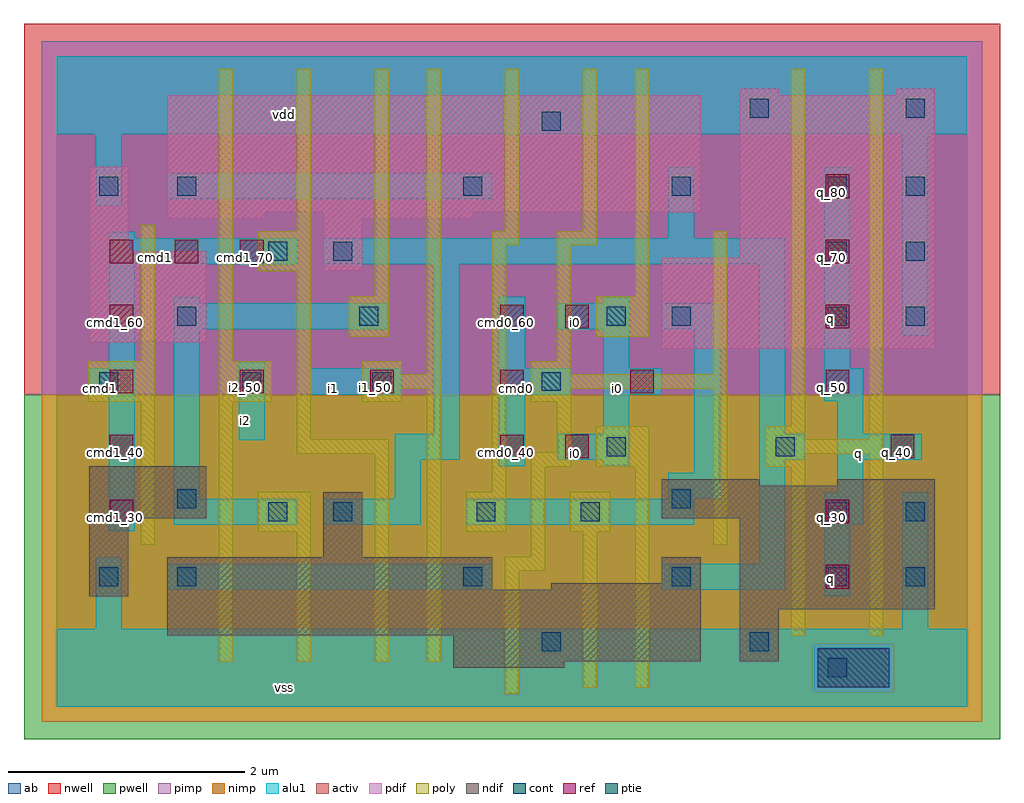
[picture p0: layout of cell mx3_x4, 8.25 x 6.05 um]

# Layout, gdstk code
import gdstk
lib = gdstk.Library(unit=1e-6, precision=2.5e-09)
def R(c, l, rs):  # rectangles x0, y0, x1, y1
    for r in rs: c.add(gdstk.rectangle(r[:2], r[2:], *l))
def A(c, l, x, y, w, h, nx, ny, dx, dy):  # array of equal rectangles
    R(c, l, [(x+i*dx, y+j*dy, x+i*dx+w, y+j*dy+h) for i in range(nx) for j in range(ny)])
ndif = (3, 0)
pdif = (4, 0)
ptie = (6, 0)
ref = (24, 0)
cont = (25, 0)
pwell = (41, 0)
nwell = (42, 0)
activ = (43, 0)
pimp = (44, 0)
nimp = (45, 0)
poly = (46, 0)
alu1 = (49, 0)
ab = (63, 0)

mx3_x4 = lib.new_cell('mx3_x4')
R(mx3_x4, ndif, [(3.355,0.33,4.29,0.385), (3.355,0.385,5.445,0.605), (5.775,0.385,6.105,0.825), (0.935,0.605,5.445,0.99), (5.775,0.825,7.425,1.595), (0.275,0.935,0.605,1.595), (0.935,0.99,3.685,1.265), (4.18,0.99,5.445,1.045), (5.115,1.045,5.445,1.265), (2.255,1.265,2.585,1.815), (0.275,1.595,1.265,2.035), (5.115,1.595,7.425,1.87), (5.115,1.87,5.94,1.925), (6.6,1.87,7.425,1.925)])
R(mx3_x4, pdif, [(5.115,3.025,7.425,3.795), (0.275,3.08,1.265,3.85), (2.255,3.685,2.585,4.125), (5.775,3.795,7.425,5.17), (0.275,3.85,0.605,4.565), (0.935,4.125,1.76,4.18), (2.255,4.125,3.52,4.18), (0.935,4.18,5.445,5.17), (5.775,5.17,6.105,5.225), (7.095,5.17,7.425,5.225)])
R(mx3_x4, ptie, [(6.435,0.165,7.04,0.495)])
A(mx3_x4, ref, 0.45, 2.65, 0.2, 0.2, 5, 1, 1.1, 0)
A(mx3_x4, ref, 6.5, 2.65, 0.2, 0.2, 1, 4, 0, 0.55)
A(mx3_x4, ref, 0.45, 3.75, 0.2, 0.2, 3, 1, 0.55, 0)
R(mx3_x4, ref, [(6.5,1,6.7,1.2), (0.45,1.55,0.65,1.75), (6.5,1.55,6.7,1.75), (0.45,2.1,0.65,2.3), (3.75,2.1,3.95,2.3), (4.3,2.1,4.5,2.3), (7.05,2.1,7.25,2.3), (0.45,3.2,0.65,3.4), (3.75,3.2,3.95,3.4), (4.3,3.2,4.5,3.4)])
A(mx3_x4, cont, 4.1, 0.47, 0.16, 0.16, 1, 3, 0, 2.2)
A(mx3_x4, cont, 0.36, 1.02, 0.16, 0.16, 1, 3, 0, 1.65)
A(mx3_x4, cont, 6.52, 3.22, 0.16, 0.16, 1, 3, 0, 0.55)
A(mx3_x4, cont, 7.18, 3.22, 0.16, 0.16, 1, 3, 0, 0.55)
R(mx3_x4, cont, [(6.52,0.25,6.68,0.41), (5.86,0.47,6.02,0.63), (1.02,1.02,1.18,1.18), (3.44,1.02,3.6,1.18), (5.2,1.02,5.36,1.18), (6.52,1.02,6.68,1.18), (7.18,1.02,7.34,1.18), (1.79,1.57,1.95,1.73), (2.34,1.57,2.5,1.73), (3.55,1.57,3.71,1.73), (4.43,1.57,4.59,1.73), (6.52,1.57,6.68,1.73), (7.18,1.57,7.34,1.73), (1.02,1.68,1.18,1.84), (5.2,1.68,5.36,1.84), (4.65,2.12,4.81,2.28), (6.08,2.12,6.24,2.28), (1.57,2.67,1.73,2.83), (2.67,2.67,2.83,2.83), (1.02,3.22,1.18,3.38), (2.56,3.22,2.72,3.38), (4.65,3.22,4.81,3.38), (5.2,3.22,5.36,3.38), (1.79,3.77,1.95,3.93), (2.34,3.77,2.5,3.93), (1.02,4.32,1.18,4.48), (3.44,4.32,3.6,4.48), (5.2,4.32,5.36,4.48), (5.86,4.98,6.02,5.14), (7.18,4.98,7.34,5.14)])
R(mx3_x4, pwell, [(-0.275,-0.275,7.975,2.64)])
R(mx3_x4, nwell, [(-0.275,2.64,7.975,5.775)])
R(mx3_x4, activ, [(6.435,0.165,7.04,0.495), (3.355,0.33,4.29,0.385), (3.355,0.385,5.445,0.605), (5.775,0.385,6.105,0.825), (0.935,0.605,5.445,0.99), (5.775,0.825,7.425,1.595), (0.275,0.935,0.605,1.595), (0.935,0.99,3.685,1.265), (4.18,0.99,5.445,1.045), (5.115,1.045,5.445,1.265), (2.255,1.265,2.585,1.815), (0.275,1.595,1.265,2.035), (5.115,1.595,7.425,1.87), (5.115,1.87,5.94,1.925), (6.6,1.87,7.425,1.925), (5.115,3.025,7.425,3.795), (0.275,3.08,1.265,3.85), (2.255,3.685,2.585,4.125), (5.775,3.795,7.425,5.17), (0.275,3.85,0.605,4.565), (0.935,4.125,1.76,4.18), (2.255,4.125,3.52,4.18), (0.935,4.18,5.445,5.17), (5.775,5.17,6.105,5.225), (7.095,5.17,7.425,5.225)])
R(mx3_x4, pimp, [(6.395,0.125,7.08,0.535), (-0.125,2.64,7.825,5.625)])
R(mx3_x4, nimp, [(-0.125,-0.125,7.825,0.125), (-0.125,0.125,6.395,0.535), (7.08,0.125,7.825,0.535), (-0.125,0.535,7.825,2.64)])
R(mx3_x4, poly, [(3.79,0.105,3.91,1.15), (4.45,0.16,4.57,1.48), (4.89,0.16,5.01,2.03), (1.37,0.38,1.49,2.58), (2.03,0.38,2.15,1.48), (2.69,0.38,2.81,2.14), (3.13,0.38,3.25,2.69), (6.21,0.6,6.33,2.03), (6.87,0.6,6.99,2.14), (3.79,1.15,4.13,1.27), (4.01,1.27,4.13,2.03), (0.71,1.37,0.83,2.58), (5.55,1.37,5.67,2.69), (1.7,1.48,2.15,1.82), (3.46,1.48,3.8,1.82), (4.34,1.48,4.68,1.82), (3.68,1.82,3.8,3.9), (4.01,2.03,4.35,2.15), (4.56,2.03,5.01,2.37), (5.99,2.03,6.33,2.14), (2.03,2.14,2.81,2.26), (5.99,2.14,6.99,2.26), (4.23,2.15,4.35,2.58), (2.03,2.26,2.15,3.68), (5.99,2.26,6.33,2.37), (6.87,2.26,6.99,5.395), (6.21,2.37,6.33,5.395), (0.27,2.58,0.83,2.92), (1.37,2.58,1.82,2.92), (2.58,2.58,2.92,2.69), (4.01,2.58,4.35,2.69), (2.58,2.69,3.25,2.81), (4.01,2.69,5.67,2.81), (2.58,2.81,2.92,2.92), (3.13,2.81,3.25,5.395), (4.01,2.81,4.35,2.92), (5.55,2.81,5.67,4.02), (0.71,2.92,0.83,4.075), (1.37,2.92,1.49,5.395), (4.23,2.92,4.35,3.9), (2.47,3.13,2.81,3.47), (4.56,3.13,5.01,3.47), (2.69,3.47,2.81,5.395), (4.89,3.47,5.01,5.395), (1.7,3.68,2.15,4.02), (3.68,3.9,3.91,4.02), (4.23,3.9,4.57,4.02), (2.03,4.02,2.15,5.395), (3.79,4.02,3.91,5.395), (4.45,4.02,4.57,5.395)])
R(mx3_x4, alu1, [(0,0,7.7,0.66), (0.33,0.66,0.55,1.265), (7.15,0.66,7.37,1.815), (6.49,0.935,6.71,1.54), (0.935,0.99,3.685,1.21), (5.115,0.99,6.16,1.21), (5.94,1.21,6.16,2.09), (0.44,1.485,0.66,2.64), (0.99,1.54,2.035,1.76), (2.255,1.54,3.08,1.76), (3.465,1.54,5.39,1.76), (6.49,1.54,6.82,1.815), (0.99,1.76,1.21,3.19), (2.86,1.76,3.08,2.09), (5.17,1.76,5.61,1.98), (6.6,1.815,6.82,2.09), (5.39,1.98,5.61,3.19), (3.74,2.035,3.96,2.64), (4.62,2.035,4.84,2.09), (2.86,2.09,3.41,2.31), (4.235,2.09,4.84,2.31), (5.94,2.09,6.325,2.31), (6.6,2.09,7.315,2.31), (1.54,2.255,1.76,2.915), (3.19,2.31,3.41,3.74), (4.62,2.31,4.84,2.64), (5.94,2.31,6.16,3.74), (6.6,2.31,6.82,2.585), (6.49,2.585,6.82,2.86), (0.275,2.64,0.66,2.86), (2.145,2.64,2.915,2.86), (3.74,2.64,4.345,2.86), (4.62,2.64,5.115,2.86), (0.44,2.86,0.66,3.74), (3.74,2.86,3.96,3.465), (4.62,2.86,4.84,3.19), (6.49,2.86,6.71,4.565), (7.15,3.135,7.37,4.84), (0.99,3.19,2.805,3.41), (4.235,3.19,4.84,3.41), (5.115,3.19,5.61,3.41), (0.99,3.41,1.21,3.465), (4.62,3.41,4.84,3.465), (0.44,3.74,2.035,3.96), (2.255,3.74,6.16,3.96), (0.44,3.96,0.66,4.015), (5.17,3.96,5.39,4.565), (0.33,4.235,0.55,4.84), (0.935,4.29,3.685,4.51), (0,4.84,7.7,5.5)])
R(mx3_x4, ab, [(0,0,7.7,5.5)])
mx3_x4.add(gdstk.Label('vss', (1.925,0.165), layer=49, texttype=0))
mx3_x4.add(gdstk.Label('q', (6.545,1.085), layer=49, texttype=0))
mx3_x4.add(gdstk.Label('q', (6.7775,2.145), layer=49, texttype=0))
mx3_x4.add(gdstk.Label('q', (6.545,3.285), layer=49, texttype=0))
mx3_x4.add(gdstk.Label('i0', (4.385,2.145), layer=49, texttype=0))
mx3_x4.add(gdstk.Label('i0', (4.7425,2.695), layer=49, texttype=0))
mx3_x4.add(gdstk.Label('cmd0', (3.89,2.695), layer=49, texttype=0))
mx3_x4.add(gdstk.Label('i0', (4.385,3.245), layer=49, texttype=0))
mx3_x4.add(gdstk.Label('i1', (2.3375,2.695), layer=49, texttype=0))
mx3_x4.add(gdstk.Label('i2', (1.595,2.42), layer=49, texttype=0))
mx3_x4.add(gdstk.Label('cmd1', (0.37,2.695), layer=49, texttype=0))
mx3_x4.add(gdstk.Label('cmd1', (0.8375,3.795), layer=49, texttype=0))
mx3_x4.add(gdstk.Label('vdd', (1.925,5.005), layer=49, texttype=0))
mx3_x4.add(gdstk.Label('cmd1_70', (1.05,3.8), layer=24, texttype=0))
mx3_x4.add(gdstk.Label('cmd1_70', (1.6,3.8), layer=24, texttype=0))
mx3_x4.add(gdstk.Label('q_80', (6.55,4.35), layer=24, texttype=0))
mx3_x4.add(gdstk.Label('q_70', (6.55,3.8), layer=24, texttype=0))
mx3_x4.add(gdstk.Label('q_60', (6.55,3.25), layer=24, texttype=0))
mx3_x4.add(gdstk.Label('q_50', (6.55,2.7), layer=24, texttype=0))
mx3_x4.add(gdstk.Label('q_30', (6.55,1.6), layer=24, texttype=0))
mx3_x4.add(gdstk.Label('q_20', (6.55,1.05), layer=24, texttype=0))
mx3_x4.add(gdstk.Label('i0_50', (4.9,2.7), layer=24, texttype=0))
mx3_x4.add(gdstk.Label('i0_60', (4.35,3.25), layer=24, texttype=0))
mx3_x4.add(gdstk.Label('i0_40', (4.35,2.15), layer=24, texttype=0))
mx3_x4.add(gdstk.Label('cmd0_60', (3.8,3.25), layer=24, texttype=0))
mx3_x4.add(gdstk.Label('cmd0_50', (3.8,2.7), layer=24, texttype=0))
mx3_x4.add(gdstk.Label('cmd0_40', (3.8,2.15), layer=24, texttype=0))
mx3_x4.add(gdstk.Label('i1_50', (2.7,2.7), layer=24, texttype=0))
mx3_x4.add(gdstk.Label('i2_50', (1.6,2.7), layer=24, texttype=0))
mx3_x4.add(gdstk.Label('cmd1_70', (0.5,3.8), layer=24, texttype=0))
mx3_x4.add(gdstk.Label('cmd1_60', (0.5,3.25), layer=24, texttype=0))
mx3_x4.add(gdstk.Label('cmd1_50', (0.5,2.7), layer=24, texttype=0))
mx3_x4.add(gdstk.Label('cmd1_40', (0.5,2.15), layer=24, texttype=0))
mx3_x4.add(gdstk.Label('cmd1_30', (0.5,1.6), layer=24, texttype=0))
mx3_x4.add(gdstk.Label('q_40', (7.1,2.15), layer=24, texttype=0))

lib.write_gds('mx3_x4.gds')
